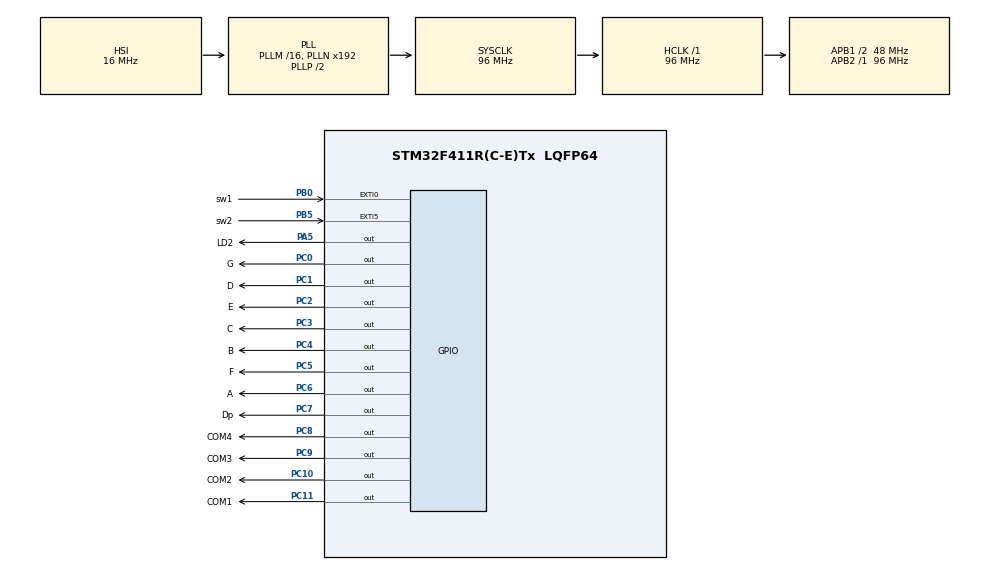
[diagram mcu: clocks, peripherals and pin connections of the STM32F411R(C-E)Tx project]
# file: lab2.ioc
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Mcu.Family=STM32F4
Mcu.Name=STM32F411R(C-E)Tx
Mcu.Package=LQFP64
NVIC.EXTI0_IRQn=true\:0\:0\:false\:false\:true\:true\:true\:true
NVIC.EXTI9_5_IRQn=true\:0\:0\:false\:false\:true\:true\:true\:true
NVIC.PriorityGroup=NVIC_PRIORITYGROUP_4
NVIC.TIM1_TRG_COM_TIM11_IRQn=true\:0\:0\:false\:false\:true\:true\:true\:true
PA5.GPIO_Label=LD2
PA5.Signal=GPIO_Output
PB0.GPIO_Label=sw1
PB0.GPIO_ModeDefaultEXTI=GPIO_MODE_IT_FALLING
PB0.GPIO_PuPd=GPIO_PULLUP
PB0.Signal=GPXTI0
PB5.GPIO_Label=sw2
PB5.GPIO_ModeDefaultEXTI=GPIO_MODE_IT_FALLING
PB5.GPIO_PuPd=GPIO_PULLUP
PB5.Signal=GPXTI5
PC0.GPIO_Label=G
PC0.Signal=GPIO_Output
PC1.GPIO_Label=D
PC1.Signal=GPIO_Output
PC10.GPIO_Label=COM2
PC10.Signal=GPIO_Output
PC11.GPIO_Label=COM1
PC11.Signal=GPIO_Output
PC2.GPIO_Label=E
PC2.Signal=GPIO_Output
PC3.GPIO_Label=C
PC3.Signal=GPIO_Output
PC4.GPIO_Label=B
PC4.Signal=GPIO_Output
PC5.GPIO_Label=F
PC5.Signal=GPIO_Output
PC6.GPIO_Label=A
PC6.Signal=GPIO_Output
PC7.GPIO_Label=Dp
PC7.Signal=GPIO_Output
PC8.GPIO_Label=COM4
PC8.Signal=GPIO_Output
PC9.GPIO_Label=COM3
PC9.Signal=GPIO_Output
ProjectManager.HeapSize=0x200
ProjectManager.StackSize=0x400
ProjectManager.TargetToolchain=STM32CubeIDE
RCC.AHBFreq_Value=96000000
RCC.APB1CLKDivider=RCC_HCLK_DIV2
RCC.APB1Freq_Value=48000000
RCC.APB1TimFreq_Value=96000000
RCC.APB2Freq_Value=96000000
RCC.APB2TimFreq_Value=96000000
RCC.CortexFreq_Value=96000000
RCC.HCLKFreq_Value=96000000
RCC.HSE_VALUE=25000000
RCC.HSI_VALUE=16000000
RCC.LSE_VALUE=32768
RCC.SYSCLKFreq_VALUE=96000000
RCC.SYSCLKSource=RCC_SYSCLKSOURCE_PLLCLK
RCC.VCOOutputFreq_Value=192000000
TIM11.Period=499
TIM11.Prescaler=400
VP_TIM11_VS_ClockSourceINT.Mode=Enable_Timer
board=custom

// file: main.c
/* USER CODE BEGIN Header */
/**
  ******************************************************************************
  * @file           : main.c
  * @brief          : Main program body
  ******************************************************************************
  * @attention
  *
  * Copyright (c) 2024 STMicroelectronics.
  * All rights reserved.
  *
  * This software is licensed under terms that can be found in the LICENSE file
  * in the root directory of this software component.
  * If no LICENSE file comes with this software, it is provided AS-IS.
  *
  ******************************************************************************
  */
/* USER CODE END Header */
#include "main.h"

/* USER CODE BEGIN PTD */
int liczba=0;
static uint8_t licznik_przerwan=0;
uint8_t tysiac, setka, dziesiatka, jednostka;
uint32_t current_time, last_but_press_time;
const int stala_FFFF = 0xFFFFFFFF;

/* USER CODE END PTD */

TIM_HandleTypeDef htim11;

void SystemClock_Config(void);
static void MX_GPIO_Init(void);
static void MX_TIM11_Init(void);
/* USER CODE BEGIN PFP */

void przelicz(uint16_t liczba)
{
	if (liczba < 10 && 0<liczba)
	      {jednostka=liczba;
	      }
	      else if (9 <liczba &&liczba < 100)
	      {
	          dziesiatka = liczba / 10;
	          jednostka = liczba % 10;

	      }
	      else if (99<liczba && liczba < 1000)
	      {
	          // Extract hundreds, tens, and units
	          setka = liczba / 100;
	          dziesiatka = (liczba / 10) % 10;
	          jednostka = liczba % 10;

	      }
	      else if(999< liczba && liczba < 9999)
	      {
	          // Extract thousands, hundreds, tens, and units
	          tysiac = liczba / 1000;
	          setka = (liczba / 100) % 10;
	          dziesiatka = (liczba / 10) % 10;
	          jednostka = liczba % 10;

	      }

}
void wypisz_liczbe(uint8_t cyfra)
{
      HAL_GPIO_WritePin(GPIOC, A_Pin | B_Pin | C_Pin | D_Pin | E_Pin | F_Pin | G_Pin | Dp_Pin, GPIO_PIN_RESET);

      switch (cyfra)
      {
          case 0:
              HAL_GPIO_WritePin(GPIOC, A_Pin | B_Pin | C_Pin | D_Pin | E_Pin | F_Pin, GPIO_PIN_SET);
              break;
          case 1:
              HAL_GPIO_WritePin(GPIOC, B_Pin | C_Pin, GPIO_PIN_SET);
              break;
          case 2:
              HAL_GPIO_WritePin(GPIOC, A_Pin | B_Pin | D_Pin | E_Pin | G_Pin, GPIO_PIN_SET);
              break;
          case 3:
              HAL_GPIO_WritePin(GPIOC, A_Pin | B_Pin | C_Pin | D_Pin | G_Pin, GPIO_PIN_SET);
              break;
          case 4:
              HAL_GPIO_WritePin(GPIOC, B_Pin | C_Pin | F_Pin | G_Pin, GPIO_PIN_SET);
              break;
          case 5:
              HAL_GPIO_WritePin(GPIOC, A_Pin | C_Pin | D_Pin | F_Pin | G_Pin, GPIO_PIN_SET);
              break;
          case 6:
              HAL_GPIO_WritePin(GPIOC, A_Pin | C_Pin | D_Pin | E_Pin | F_Pin | G_Pin, GPIO_PIN_SET);
              break;
          case 7:
              HAL_GPIO_WritePin(GPIOC, A_Pin | B_Pin | C_Pin, GPIO_PIN_SET);
              break;
          case 8:
              HAL_GPIO_WritePin(GPIOC, A_Pin | B_Pin | C_Pin | D_Pin | E_Pin | F_Pin | G_Pin, GPIO_PIN_SET);
              break;
          case 9:
              HAL_GPIO_WritePin(GPIOC, A_Pin | B_Pin | C_Pin | D_Pin | F_Pin | G_Pin, GPIO_PIN_SET);
              break;
          default:
              HAL_GPIO_WritePin(GPIOC, A_Pin | B_Pin | C_Pin | D_Pin | E_Pin | F_Pin | G_Pin | Dp_Pin, GPIO_PIN_RESET);
              break;
      }
  }

void wyb_com(uint8_t com)
  {
      HAL_GPIO_WritePin(GPIOC, COM1_Pin | COM2_Pin | COM3_Pin | COM4_Pin, GPIO_PIN_SET);

      switch (com)
      {
          case 3:
              HAL_GPIO_WritePin(GPIOC, COM1_Pin, GPIO_PIN_RESET);
              break;
          case 2:
              HAL_GPIO_WritePin(GPIOC, COM2_Pin, GPIO_PIN_RESET);
              break;
          case 1:
              HAL_GPIO_WritePin(GPIOC, COM3_Pin, GPIO_PIN_RESET);
              break;
          case 0:
              HAL_GPIO_WritePin(GPIOC, COM4_Pin, GPIO_PIN_RESET);
              break;
          default:
              return;
      }
  }

void HAL_TIM_PeriodElapsedCallback(TIM_HandleTypeDef *htim){
	if (htim->Instance == TIM11){
		if (licznik_przerwan>3)
		{
			licznik_przerwan=0;
		}

		if(licznik_przerwan==0)
				{
			wyb_com(0);
				wypisz_liczbe(jednostka);

				}
		else if(licznik_przerwan==1)
				{
			wyb_com(1);
				wypisz_liczbe(dziesiatka);

				}
		else if(licznik_przerwan==2)
				{
			wyb_com(2);
				wypisz_liczbe(setka);

				}
		else if(licznik_przerwan==3){
			wyb_com(3);
			wypisz_liczbe(tysiac);}
		licznik_przerwan=licznik_przerwan+1;

	}
}
void HAL_GPIO_EXTI_Callback(uint16_t GPIO_Pin)
{
uint16_t aktualny_stan, ostatnistan;
//static
	if(GPIO_Pin == sw1_Pin)
	{
		aktualny_stan=HAL_GPIO_ReadPin(sw1_GPIO_Port, sw1_Pin);
		if (aktualny_stan != ostatnistan)
		{
        current_time=HAL_GetTick();

        	if((current_time- last_but_press_time)>200 && (stala_FFFF -1)- current_time + last_but_press_time>500)
        	{
        		   liczba++;
        		   przelicz(liczba);
        	ostatnistan=aktualny_stan;
        	last_but_press_time=current_time;
		   }
	       }
       }

	if(GPIO_Pin == sw2_Pin)
		{
			aktualny_stan=HAL_GPIO_ReadPin(sw1_GPIO_Port, sw1_Pin);
			if (aktualny_stan != ostatnistan)
			{
	        current_time=HAL_GetTick();

	        	if((current_time- last_but_press_time)>200 && (stala_FFFF -1)- current_time + last_but_press_time>500)
	        	{
	        		   liczba--;
	        		   przelicz(liczba);
	        	ostatnistan=aktualny_stan;
	        	last_but_press_time=current_time;
			   }
		       }
	       }
}

/* USER CODE END PFP */

int main(void)
{

  /* MCU Configuration--------------------------------------------------------*/

  /* Reset of all peripherals, Initializes the Flash interface and the Systick. */
  HAL_Init();

  /* Configure the system clock */
  SystemClock_Config();

  /* Initialize all configured peripherals */
  MX_GPIO_Init();
  MX_TIM11_Init();
  /* USER CODE BEGIN 2 */
HAL_TIM_Base_Start_IT(&htim11);

  /* USER CODE END 2 */

  /* Infinite loop */
  /* USER CODE BEGIN WHILE */

  while (1)
  {
//port szeregowy zkomputera i od komputera
//poczytac port
//kod ascii
//w jakich trybach pracuje port szeregowy
//asynchornicznyy i niesynchroniczny
//start stopu bit parzystoci
	  // dma

    /* USER CODE END WHILE */

  }
}

void SystemClock_Config(void)
{
  RCC_OscInitTypeDef RCC_OscInitStruct = {0};
  RCC_ClkInitTypeDef RCC_ClkInitStruct = {0};

  /** Configure the main internal regulator output voltage
  */
  __HAL_RCC_PWR_CLK_ENABLE();
  __HAL_PWR_VOLTAGESCALING_CONFIG(PWR_REGULATOR_VOLTAGE_SCALE1);

  /** Initializes the RCC Oscillators according to the specified parameters
  * in the RCC_OscInitTypeDef structure.
  */
  RCC_OscInitStruct.OscillatorType = RCC_OSCILLATORTYPE_HSI;
  RCC_OscInitStruct.HSIState = RCC_HSI_ON;
  RCC_OscInitStruct.HSICalibrationValue = RCC_HSICALIBRATION_DEFAULT;
  RCC_OscInitStruct.PLL.PLLState = RCC_PLL_ON;
  RCC_OscInitStruct.PLL.PLLSource = RCC_PLLSOURCE_HSI;
  RCC_OscInitStruct.PLL.PLLM = 16;
  RCC_OscInitStruct.PLL.PLLN = 192;
  RCC_OscInitStruct.PLL.PLLP = RCC_PLLP_DIV2;
  RCC_OscInitStruct.PLL.PLLQ = 4;
  if (HAL_RCC_OscConfig(&RCC_OscInitStruct) != HAL_OK)
  {
    Error_Handler();
  }

  /** Initializes the CPU, AHB and APB buses clocks
  */
  RCC_ClkInitStruct.ClockType = RCC_CLOCKTYPE_HCLK|RCC_CLOCKTYPE_SYSCLK
                              |RCC_CLOCKTYPE_PCLK1|RCC_CLOCKTYPE_PCLK2;
  RCC_ClkInitStruct.SYSCLKSource = RCC_SYSCLKSOURCE_PLLCLK;
  RCC_ClkInitStruct.AHBCLKDivider = RCC_SYSCLK_DIV1;
  RCC_ClkInitStruct.APB1CLKDivider = RCC_HCLK_DIV2;
  RCC_ClkInitStruct.APB2CLKDivider = RCC_HCLK_DIV1;

  if (HAL_RCC_ClockConfig(&RCC_ClkInitStruct, FLASH_LATENCY_3) != HAL_OK)
  {
    Error_Handler();
  }
}

static void MX_TIM11_Init(void)
{

  htim11.Instance = TIM11;
  htim11.Init.Prescaler = 400;
  htim11.Init.CounterMode = TIM_COUNTERMODE_UP;
  htim11.Init.Period = 499;
  htim11.Init.ClockDivision = TIM_CLOCKDIVISION_DIV1;
  htim11.Init.AutoReloadPreload = TIM_AUTORELOAD_PRELOAD_DISABLE;
  if (HAL_TIM_Base_Init(&htim11) != HAL_OK)
  {
    Error_Handler();
  }

}

static void MX_GPIO_Init(void)
{
  GPIO_InitTypeDef GPIO_InitStruct = {0};

  /* GPIO Ports Clock Enable */
  __HAL_RCC_GPIOC_CLK_ENABLE();
  __HAL_RCC_GPIOA_CLK_ENABLE();
  __HAL_RCC_GPIOB_CLK_ENABLE();

  /*Configure GPIO pin Output Level */
  HAL_GPIO_WritePin(GPIOC, G_Pin|D_Pin|E_Pin|C_Pin
                          |B_Pin|F_Pin|A_Pin|Dp_Pin
                          |COM4_Pin|COM3_Pin|COM2_Pin|COM1_Pin, GPIO_PIN_RESET);

  /*Configure GPIO pin Output Level */
  HAL_GPIO_WritePin(LD2_GPIO_Port, LD2_Pin, GPIO_PIN_RESET);

  /*Configure GPIO pins : G_Pin D_Pin E_Pin C_Pin
                           B_Pin F_Pin A_Pin Dp_Pin
                           COM4_Pin COM3_Pin COM2_Pin COM1_Pin */
  GPIO_InitStruct.Pin = G_Pin|D_Pin|E_Pin|C_Pin
                          |B_Pin|F_Pin|A_Pin|Dp_Pin
                          |COM4_Pin|COM3_Pin|COM2_Pin|COM1_Pin;
  GPIO_InitStruct.Mode = GPIO_MODE_OUTPUT_PP;
  GPIO_InitStruct.Pull = GPIO_NOPULL;
  GPIO_InitStruct.Speed = GPIO_SPEED_FREQ_LOW;
  HAL_GPIO_Init(GPIOC, &GPIO_InitStruct);

  /*Configure GPIO pin : LD2_Pin */
  GPIO_InitStruct.Pin = LD2_Pin;
  GPIO_InitStruct.Mode = GPIO_MODE_OUTPUT_PP;
  GPIO_InitStruct.Pull = GPIO_NOPULL;
  GPIO_InitStruct.Speed = GPIO_SPEED_FREQ_LOW;
  HAL_GPIO_Init(LD2_GPIO_Port, &GPIO_InitStruct);

  /*Configure GPIO pins : sw1_Pin sw2_Pin */
  GPIO_InitStruct.Pin = sw1_Pin|sw2_Pin;
  GPIO_InitStruct.Mode = GPIO_MODE_IT_FALLING;
  GPIO_InitStruct.Pull = GPIO_PULLUP;
  HAL_GPIO_Init(GPIOB, &GPIO_InitStruct);

  /* EXTI interrupt init*/
  HAL_NVIC_SetPriority(EXTI0_IRQn, 0, 0);
  HAL_NVIC_EnableIRQ(EXTI0_IRQn);

  HAL_NVIC_SetPriority(EXTI9_5_IRQn, 0, 0);
  HAL_NVIC_EnableIRQ(EXTI9_5_IRQn);

}

void Error_Handler(void)
{
  __disable_irq();
  while (1)
  {
  }
}
